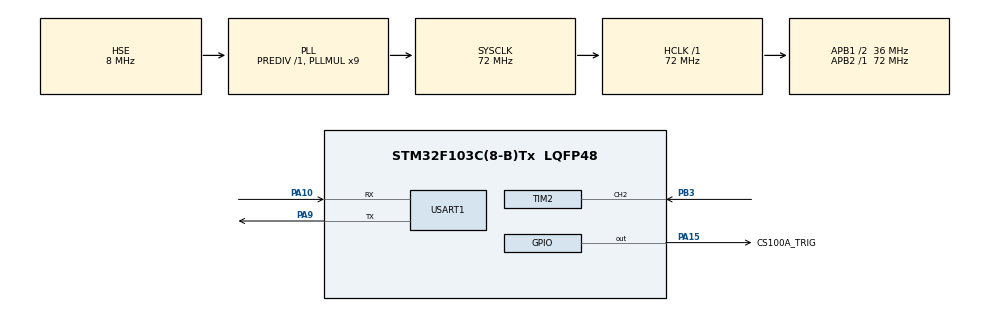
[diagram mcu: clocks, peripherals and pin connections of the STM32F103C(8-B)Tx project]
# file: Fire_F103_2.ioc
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Mcu.Family=STM32F1
Mcu.Name=STM32F103C(8-B)Tx
Mcu.Package=LQFP48
NVIC.PriorityGroup=NVIC_PRIORITYGROUP_4
PA10.Mode=Asynchronous
PA10.Signal=USART1_RX
PA13.Mode=Serial_Wire
PA13.Signal=SYS_JTMS-SWDIO
PA14.Mode=Serial_Wire
PA14.Signal=SYS_JTCK-SWCLK
PA15.GPIO_Label=CS100A_TRIG
PA15.Signal=GPIO_Output
PA9.Mode=Asynchronous
PA9.Signal=USART1_TX
PB3.Signal=S_TIM2_CH2
PC14-OSC32_IN.Mode=LSE-External-Oscillator
PC14-OSC32_IN.Signal=RCC_OSC32_IN
PC15-OSC32_OUT.Mode=LSE-External-Oscillator
PC15-OSC32_OUT.Signal=RCC_OSC32_OUT
PD0-OSC_IN.Mode=HSE-External-Oscillator
PD0-OSC_IN.Signal=RCC_OSC_IN
PD1-OSC_OUT.Mode=HSE-External-Oscillator
PD1-OSC_OUT.Signal=RCC_OSC_OUT
ProjectManager.HeapSize=0x200
ProjectManager.StackSize=0x400
ProjectManager.TargetToolchain=MDK-ARM V5.32
RCC.AHBFreq_Value=72000000
RCC.APB1CLKDivider=RCC_HCLK_DIV2
RCC.APB1Freq_Value=36000000
RCC.APB1TimFreq_Value=72000000
RCC.APB2Freq_Value=72000000
RCC.APB2TimFreq_Value=72000000
RCC.HCLKFreq_Value=72000000
RCC.PLLMUL=RCC_PLL_MUL9
RCC.PLLSourceVirtual=RCC_PLLSOURCE_HSE
RCC.SYSCLKFreq_VALUE=72000000
RCC.SYSCLKSource=RCC_SYSCLKSOURCE_PLLCLK
RCC.USBFreq_Value=72000000
SH.S_TIM2_CH2.0=TIM2_CH2,Input_Capture2_from_TI2
TIM2.AutoReloadPreload=TIM_AUTORELOAD_PRELOAD_ENABLE
TIM2.Channel-Input_Capture1_from_TI2_63=TIM_CHANNEL_1
TIM2.Channel-Input_Capture2_from_TI2=TIM_CHANNEL_2
TIM2.ICPolarity_CH1=TIM_INPUTCHANNELPOLARITY_FALLING
TIM2.Prescaler=72-1
USART1.VirtualMode=VM_ASYNC
VP_TIM2_VS_ClockSourceINT.Mode=Internal
VP_TIM2_VS_indirect_ch2.Mode=Input_Capture1_from_TI2_63
board=custom

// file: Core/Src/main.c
/* USER CODE BEGIN Header */
/**
  ******************************************************************************
  * @file           : main.c
  * @brief          : Main program body
  ******************************************************************************
  * @attention
  *
  * Copyright (c) 2026 STMicroelectronics.
  * All rights reserved.
  *
  * This software is licensed under terms that can be found in the LICENSE file
  * in the root directory of this software component.
  * If no LICENSE file comes with this software, it is provided AS-IS.
  *
  ******************************************************************************
  */
/* USER CODE END Header */
#include "main.h"
#include "tim.h"
#include "usart.h"
#include "gpio.h"

/* USER CODE BEGIN Includes */

#include <stdio.h>//使用printf函数

/* USER CODE END Includes */

/* USER CODE BEGIN PV */
uint32_t start_time=0;//记录超声波回响开始的时间（单位：定时器计数值）
uint32_t end_time=0;//记录超声回响结束时间（单位：定时器计数值）

float pulse_width=0.0f;//计算出的超声波高电平脉宽时间（单位：微妙s）
float distance=0.0f;//根据脉宽计算出距离值（单位：厘米）

/* USER CODE END PV */

void SystemClock_Config(void);

/* USER CODE BEGIN 0 */
void CS100A_TRIG_Start(void)
{
	HAL_GPIO_WritePin(GPIOA,CS100A_TRIG_Pin,GPIO_PIN_SET);

	for(uint16_t i=0; i<90; i++);//简单延时，用于产生大约10微妙的脉冲宽度（72MHz）

  HAL_GPIO_WritePin(GPIOA,CS100A_TRIG_Pin,GPIO_PIN_RESET);

}

/* USER CODE END 0 */

int main(void)
{

  /* MCU Configuration--------------------------------------------------------*/

  /* Reset of all peripherals, Initializes the Flash interface and the Systick. */
  HAL_Init();

  /* Configure the system clock */
  SystemClock_Config();

  /* Initialize all configured peripherals */
  MX_GPIO_Init();
  MX_TIM2_Init();
  MX_USART1_UART_Init();

  /* Infinite loop */
  /* USER CODE BEGIN WHILE */
  while (1)
  {
		//清零定时器计数CNT
		__HAL_TIM_SET_COUNTER(&htim2, 0);
		HAL_TIM_IC_Start(&htim2,TIM_CHANNEL_1);//下降沿
		HAL_TIM_IC_Start(&htim2,TIM_CHANNEL_2);//上升沿

		CS100A_TRIG_Start();//发送超声波触发信号

		while (__HAL_TIM_GET_FLAG (&htim2,TIM_FLAG_CC2)==RESET);

		//清除上升沿中断标志位
		__HAL_TIM_CLEAR_FLAG(&htim2,TIM_FLAG_CC2);

		start_time=HAL_TIM_ReadCapturedValue(&htim2,TIM_CHANNEL_2);//读取通道2捕获的上升沿时间（起始时间）

				while (__HAL_TIM_GET_FLAG (&htim2,TIM_FLAG_CC1)==RESET);

		//清除上升沿中断标志位
		__HAL_TIM_CLEAR_FLAG(&htim2,TIM_FLAG_CC1);

		end_time=HAL_TIM_ReadCapturedValue(&htim2,TIM_CHANNEL_1);//读取通道1捕获的下降沿时间（结束时间）

		//停止捕获（为避免干扰下次采样）
		HAL_TIM_IC_Stop(&htim2,TIM_CHANNEL_1);
		HAL_TIM_IC_Stop(&htim2,TIM_CHANNEL_2);

		uint32_t delta=end_time-start_time;//计算计数差

		pulse_width=(float)delta *1e-6f;//换算成脉宽（单位s）
		distance=pulse_width*340.0f/2.0f;//根据声速换算成距离、
		printf("当前距离:%.2f m\r\n",distance);

		HAL_Delay(500);//500ms测量一次

    /* USER CODE END WHILE */

  }
}

void SystemClock_Config(void)
{
  RCC_OscInitTypeDef RCC_OscInitStruct = {0};
  RCC_ClkInitTypeDef RCC_ClkInitStruct = {0};

  /** Initializes the RCC Oscillators according to the specified parameters
  * in the RCC_OscInitTypeDef structure.
  */
  RCC_OscInitStruct.OscillatorType = RCC_OSCILLATORTYPE_HSE;
  RCC_OscInitStruct.HSEState = RCC_HSE_ON;
  RCC_OscInitStruct.HSEPredivValue = RCC_HSE_PREDIV_DIV1;
  RCC_OscInitStruct.HSIState = RCC_HSI_ON;
  RCC_OscInitStruct.PLL.PLLState = RCC_PLL_ON;
  RCC_OscInitStruct.PLL.PLLSource = RCC_PLLSOURCE_HSE;
  RCC_OscInitStruct.PLL.PLLMUL = RCC_PLL_MUL9;
  if (HAL_RCC_OscConfig(&RCC_OscInitStruct) != HAL_OK)
  {
    Error_Handler();
  }

  /** Initializes the CPU, AHB and APB buses clocks
  */
  RCC_ClkInitStruct.ClockType = RCC_CLOCKTYPE_HCLK|RCC_CLOCKTYPE_SYSCLK
                              |RCC_CLOCKTYPE_PCLK1|RCC_CLOCKTYPE_PCLK2;
  RCC_ClkInitStruct.SYSCLKSource = RCC_SYSCLKSOURCE_PLLCLK;
  RCC_ClkInitStruct.AHBCLKDivider = RCC_SYSCLK_DIV1;
  RCC_ClkInitStruct.APB1CLKDivider = RCC_HCLK_DIV2;
  RCC_ClkInitStruct.APB2CLKDivider = RCC_HCLK_DIV1;

  if (HAL_RCC_ClockConfig(&RCC_ClkInitStruct, FLASH_LATENCY_2) != HAL_OK)
  {
    Error_Handler();
  }
}

/* USER CODE BEGIN 4 */

int fputc(int ch,FILE*f)
{
	HAL_UART_Transmit(&huart1,(uint8_t*)&ch, 1, HAL_MAX_DELAY);
	return ch;

}

/* USER CODE END 4 */

void Error_Handler(void)
{
  __disable_irq();
  while (1)
  {
  }
}
